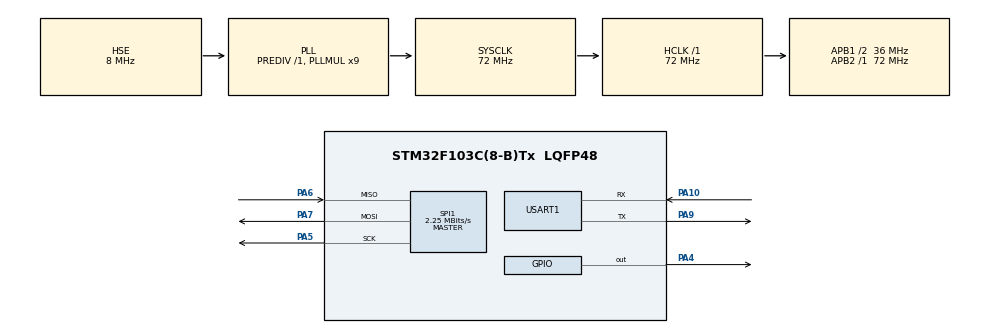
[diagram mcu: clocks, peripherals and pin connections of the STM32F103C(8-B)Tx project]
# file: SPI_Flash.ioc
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Mcu.Family=STM32F1
Mcu.Name=STM32F103C(8-B)Tx
Mcu.Package=LQFP48
NVIC.PriorityGroup=NVIC_PRIORITYGROUP_4
PA10.Mode=Asynchronous
PA10.Signal=USART1_RX
PA13.Mode=Serial_Wire
PA13.Signal=SYS_JTMS-SWDIO
PA14.Mode=Serial_Wire
PA14.Signal=SYS_JTCK-SWCLK
PA4.GPIO_Speed=GPIO_SPEED_FREQ_HIGH
PA4.Signal=GPIO_Output
PA5.Mode=Full_Duplex_Master
PA5.Signal=SPI1_SCK
PA6.Mode=Full_Duplex_Master
PA6.Signal=SPI1_MISO
PA7.Mode=Full_Duplex_Master
PA7.Signal=SPI1_MOSI
PA9.Mode=Asynchronous
PA9.Signal=USART1_TX
PD0-OSC_IN.Mode=HSE-External-Oscillator
PD0-OSC_IN.Signal=RCC_OSC_IN
PD1-OSC_OUT.Mode=HSE-External-Oscillator
PD1-OSC_OUT.Signal=RCC_OSC_OUT
ProjectManager.HeapSize=0x200
ProjectManager.StackSize=0x400
ProjectManager.TargetToolchain=STM32CubeIDE
RCC.AHBFreq_Value=72000000
RCC.APB1CLKDivider=RCC_HCLK_DIV2
RCC.APB1Freq_Value=36000000
RCC.APB1TimFreq_Value=72000000
RCC.APB2Freq_Value=72000000
RCC.APB2TimFreq_Value=72000000
RCC.HCLKFreq_Value=72000000
RCC.PLLMUL=RCC_PLL_MUL9
RCC.PLLSourceVirtual=RCC_PLLSOURCE_HSE
RCC.SYSCLKFreq_VALUE=72000000
RCC.SYSCLKSource=RCC_SYSCLKSOURCE_PLLCLK
RCC.USBFreq_Value=72000000
SPI1.BaudRatePrescaler=SPI_BAUDRATEPRESCALER_32
SPI1.CalculateBaudRate=2.25 MBits/s
SPI1.Direction=SPI_DIRECTION_2LINES
SPI1.Mode=SPI_MODE_MASTER
SPI1.VirtualType=VM_MASTER
USART1.VirtualMode=VM_ASYNC
board=custom

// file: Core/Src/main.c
/* USER CODE BEGIN Header */
/**
  ******************************************************************************
  * @file           : main.c
  * @brief          : Main program body
  ******************************************************************************
  * @attention
  *
  * Copyright (c) 2025 STMicroelectronics.
  * All rights reserved.
  *
  * This software is licensed under terms that can be found in the LICENSE file
  * in the root directory of this software component.
  * If no LICENSE file comes with this software, it is provided AS-IS.
  *
  ******************************************************************************
  */
/* USER CODE END Header */
#include "main.h"

/* USER CODE BEGIN Includes */
#include <stdio.h>
#include <string.h>
/* USER CODE END Includes */

/* USER CODE BEGIN PM */
#define w25_ENABLE_RESET	0x66
#define w25_RESET			0x99
#define w25_READ			0x03
#define w25_GET_JDEC_ID		0x9f
//макросы для управления ножкой выбора NSS
#define cs_set()	HAL_GPIO_WritePin(GPIOA, GPIO_PIN_4, GPIO_PIN_RESET) //chip select, если ножка в низом уровне, отклик ведомого устройства разрешен, если в высоком, то запрещен
#define cs_reset()	HAL_GPIO_WritePin(GPIOA, GPIO_PIN_4, GPIO_PIN_SET)

/* USER CODE END PM */

SPI_HandleTypeDef hspi1;

UART_HandleTypeDef huart1;

/* USER CODE BEGIN PV */
typedef struct
{
  uint16_t  PageSize;
  uint32_t  PageCount;
  uint32_t  SectorSize;
  uint32_t  SectorCount;
  uint32_t  BlockSize;
  uint32_t  BlockCount;
  uint32_t  NumKB;
  uint8_t   SR1;
  uint8_t   SR2;
  uint8_t   SR3;
}w25_info_t;

w25_info_t  w25_info;

uint8_t rx_buf[1025];
uint8_t tx_buf[10];
char str[130];
/* USER CODE END PV */

void SystemClock_Config(void);
static void MX_GPIO_Init(void);
static void MX_SPI1_Init(void);
static void MX_USART1_UART_Init(void);

/* USER CODE BEGIN 0 */
void SPI1_Send(uint8_t *dt, uint16_t cnt){
	HAL_SPI_Transmit(&hspi1, dt, cnt, 5000);
}
void SPI1_Recv(uint8_t *dt, uint16_t cnt){
	HAL_SPI_Receive(&hspi1, dt, cnt, 5000);
}
void w25_Reset(void){
	cs_set();
	tx_buf[0] = w25_ENABLE_RESET;
	tx_buf[1] = w25_RESET;
	SPI1_Send(tx_buf, 2);
	cs_reset();
}
//func для начала чтения из flash-ки записываем команду 03 и 24 битный аддрес
void w25_Read_Data(uint32_t addr, uint8_t *dat, uint32_t sz){
	cs_set();
	tx_buf[0] = w25_READ;
	tx_buf[1] = (addr >> 16) & 0xFF;
	tx_buf[2] = (addr >> 8) & 0xFF;
	tx_buf[3] = addr & 0xFF;
	SPI1_Send(tx_buf, 4);
	SPI1_Recv(rx_buf, sz);
	cs_reset();
}
uint32_t w25_Read_ID(void){
	uint8_t dt[3];
	tx_buf[0] = w25_GET_JDEC_ID;
	cs_set();
	SPI1_Send(tx_buf, 1);
	SPI1_Recv(dt, 3);
	cs_reset();
	return (dt[0] << 16 | dt[1] << 8) | dt[2];
}
void w25_Init(void){
	HAL_Delay(100);
	w25_Reset();
	HAL_Delay(100);
	unsigned int ID = w25_Read_ID();
	HAL_UART_Transmit(&huart1,(uint8_t*)"\r\n",2,0x1000);
	 sprintf(str,"ID:0x%X\r\n", ID);
	 HAL_UART_Transmit(&huart1,(uint8_t*)str,strlen(str),0x1000);
	 ID &= 0x0000ffff; //маска отсечения manuf ID
	 switch(ID)
	  {
	    case 0x401A:
	      w25_info.BlockCount=1024;
	      sprintf(str,"w25qxx Chip: w25q512\r\n");
	      break;
	    case 0x4019:
	      w25_info.BlockCount=512;
	      sprintf(str,"w25qxx Chip: w25q256\r\n");
	      break;
	    case 0x4018:
	      w25_info.BlockCount=256;
	      sprintf(str,"w25qxx Chip: w25q128\r\n");
	      break;
	    case 0x4017:
	      w25_info.BlockCount=128;
	      sprintf(str,"w25qxx Chip: w25q64\r\n");
	      break;
	    case 0x4016:
	      w25_info.BlockCount=64;
	      sprintf(str,"w25qxx Chip: w25q32\r\n");
	      break;
	    case 0x4015:
	      w25_info.BlockCount=32;
	      sprintf(str,"w25qxx Chip: w25q16\r\n");
	      break;
	    case 0x4014:
	      w25_info.BlockCount=16;
	      sprintf(str,"w25qxx Chip: w25q80\r\n");
	      break;
	    case 0x4013:
	      w25_info.BlockCount=8;
	      sprintf(str,"w25qxx Chip: w25q40\r\n");
	      break;
	    case 0x4012:
	      w25_info.BlockCount=4;
	      sprintf(str,"w25qxx Chip: w25q20\r\n");
	      break;
	    case 0x4011:
	      w25_info.BlockCount=2;
	      sprintf(str,"w25qxx Chip: w25q10\r\n");
	      break;
	    default:
	      sprintf(str,"w25qxx Unknown ID\r\n");
	      HAL_UART_Transmit(&huart1,(uint8_t*)str,strlen(str),0x1000);
	      return;
	  }
	  HAL_UART_Transmit(&huart1,(uint8_t*)str,strlen(str),0x1000);
	  HAL_UART_Transmit(&huart1,(uint8_t*)str,strlen(str),0x1000);
	   w25_info.PageSize=256;
	   w25_info.SectorSize=0x1000;
	   w25_info.SectorCount=w25_info.BlockCount*16;
	   w25_info.PageCount=(w25_info.SectorCount*w25_info.SectorSize)/w25_info.PageSize;
	   w25_info.BlockSize=w25_info.SectorSize*16;
	   w25_info.NumKB=(w25_info.SectorCount*w25_info.SectorSize)/1024;
	   sprintf(str,"Page Size: %d Bytes\r\n",(unsigned int)w25_info.PageSize);
	   HAL_UART_Transmit(&huart1,(uint8_t*)str,strlen(str),0x1000);
	   sprintf(str,"Page Count: %u\r\n",(unsigned int)w25_info.PageCount);
	   HAL_UART_Transmit(&huart1,(uint8_t*)str,strlen(str),0x1000);
	   sprintf(str,"Sector Size: %u Bytes\r\n",(unsigned int)w25_info.SectorSize);
	   HAL_UART_Transmit(&huart1,(uint8_t*)str,strlen(str),0x1000);
	   sprintf(str,"Sector Count: %u\r\n",(unsigned int)w25_info.SectorCount);
	   HAL_UART_Transmit(&huart1,(uint8_t*)str,strlen(str),0x1000);
	   sprintf(str,"Block Size: %u Bytes\r\n",(unsigned int)w25_info.BlockSize);
	   HAL_UART_Transmit(&huart1,(uint8_t*)str,strlen(str),0x1000);
	   sprintf(str,"Block Count: %u\r\n",(unsigned int)w25_info.BlockCount);
	   HAL_UART_Transmit(&huart1,(uint8_t*)str,strlen(str),0x1000);
	   sprintf(str,"Capacity: %u KB\r\n",(unsigned int)w25_info.NumKB);
	   HAL_UART_Transmit(&huart1,(uint8_t*)str,strlen(str),0x1000);

}
/* USER CODE END 0 */

int main(void)
{

  /* MCU Configuration--------------------------------------------------------*/

  /* Reset of all peripherals, Initializes the Flash interface and the Systick. */
  HAL_Init();

  /* Configure the system clock */
  SystemClock_Config();

  /* Initialize all configured peripherals */
  MX_GPIO_Init();
  MX_SPI1_Init();
  MX_USART1_UART_Init();
  /* USER CODE BEGIN 2 */
  w25_Init();
  /* USER CODE END 2 */

  /* Infinite loop */
  while (1)
  {

  }
}

void SystemClock_Config(void)
{
  RCC_OscInitTypeDef RCC_OscInitStruct = {0};
  RCC_ClkInitTypeDef RCC_ClkInitStruct = {0};

  /** Initializes the RCC Oscillators according to the specified parameters
  * in the RCC_OscInitTypeDef structure.
  */
  RCC_OscInitStruct.OscillatorType = RCC_OSCILLATORTYPE_HSE;
  RCC_OscInitStruct.HSEState = RCC_HSE_ON;
  RCC_OscInitStruct.HSEPredivValue = RCC_HSE_PREDIV_DIV1;
  RCC_OscInitStruct.HSIState = RCC_HSI_ON;
  RCC_OscInitStruct.PLL.PLLState = RCC_PLL_ON;
  RCC_OscInitStruct.PLL.PLLSource = RCC_PLLSOURCE_HSE;
  RCC_OscInitStruct.PLL.PLLMUL = RCC_PLL_MUL9;
  if (HAL_RCC_OscConfig(&RCC_OscInitStruct) != HAL_OK)
  {
    Error_Handler();
  }

  /** Initializes the CPU, AHB and APB buses clocks
  */
  RCC_ClkInitStruct.ClockType = RCC_CLOCKTYPE_HCLK|RCC_CLOCKTYPE_SYSCLK
                              |RCC_CLOCKTYPE_PCLK1|RCC_CLOCKTYPE_PCLK2;
  RCC_ClkInitStruct.SYSCLKSource = RCC_SYSCLKSOURCE_PLLCLK;
  RCC_ClkInitStruct.AHBCLKDivider = RCC_SYSCLK_DIV1;
  RCC_ClkInitStruct.APB1CLKDivider = RCC_HCLK_DIV2;
  RCC_ClkInitStruct.APB2CLKDivider = RCC_HCLK_DIV1;

  if (HAL_RCC_ClockConfig(&RCC_ClkInitStruct, FLASH_LATENCY_2) != HAL_OK)
  {
    Error_Handler();
  }
}

static void MX_SPI1_Init(void)
{

  /* SPI1 parameter configuration*/
  hspi1.Instance = SPI1;
  hspi1.Init.Mode = SPI_MODE_MASTER;
  hspi1.Init.Direction = SPI_DIRECTION_2LINES;
  hspi1.Init.DataSize = SPI_DATASIZE_8BIT;
  hspi1.Init.CLKPolarity = SPI_POLARITY_LOW;
  hspi1.Init.CLKPhase = SPI_PHASE_1EDGE;
  hspi1.Init.NSS = SPI_NSS_SOFT;
  hspi1.Init.BaudRatePrescaler = SPI_BAUDRATEPRESCALER_32;
  hspi1.Init.FirstBit = SPI_FIRSTBIT_MSB;
  hspi1.Init.TIMode = SPI_TIMODE_DISABLE;
  hspi1.Init.CRCCalculation = SPI_CRCCALCULATION_DISABLE;
  hspi1.Init.CRCPolynomial = 10;
  if (HAL_SPI_Init(&hspi1) != HAL_OK)
  {
    Error_Handler();
  }

}

static void MX_USART1_UART_Init(void)
{

  huart1.Instance = USART1;
  huart1.Init.BaudRate = 115200;
  huart1.Init.WordLength = UART_WORDLENGTH_8B;
  huart1.Init.StopBits = UART_STOPBITS_1;
  huart1.Init.Parity = UART_PARITY_NONE;
  huart1.Init.Mode = UART_MODE_TX_RX;
  huart1.Init.HwFlowCtl = UART_HWCONTROL_NONE;
  huart1.Init.OverSampling = UART_OVERSAMPLING_16;
  if (HAL_UART_Init(&huart1) != HAL_OK)
  {
    Error_Handler();
  }

}

static void MX_GPIO_Init(void)
{
  GPIO_InitTypeDef GPIO_InitStruct = {0};

  /* GPIO Ports Clock Enable */
  __HAL_RCC_GPIOD_CLK_ENABLE();
  __HAL_RCC_GPIOA_CLK_ENABLE();

  /*Configure GPIO pin Output Level */
  HAL_GPIO_WritePin(GPIOA, GPIO_PIN_4, GPIO_PIN_RESET);

  /*Configure GPIO pin : PA4 */
  GPIO_InitStruct.Pin = GPIO_PIN_4;
  GPIO_InitStruct.Mode = GPIO_MODE_OUTPUT_PP;
  GPIO_InitStruct.Pull = GPIO_NOPULL;
  GPIO_InitStruct.Speed = GPIO_SPEED_FREQ_HIGH;
  HAL_GPIO_Init(GPIOA, &GPIO_InitStruct);

}

void Error_Handler(void)
{
  __disable_irq();
  while (1)
  {
  }
}
